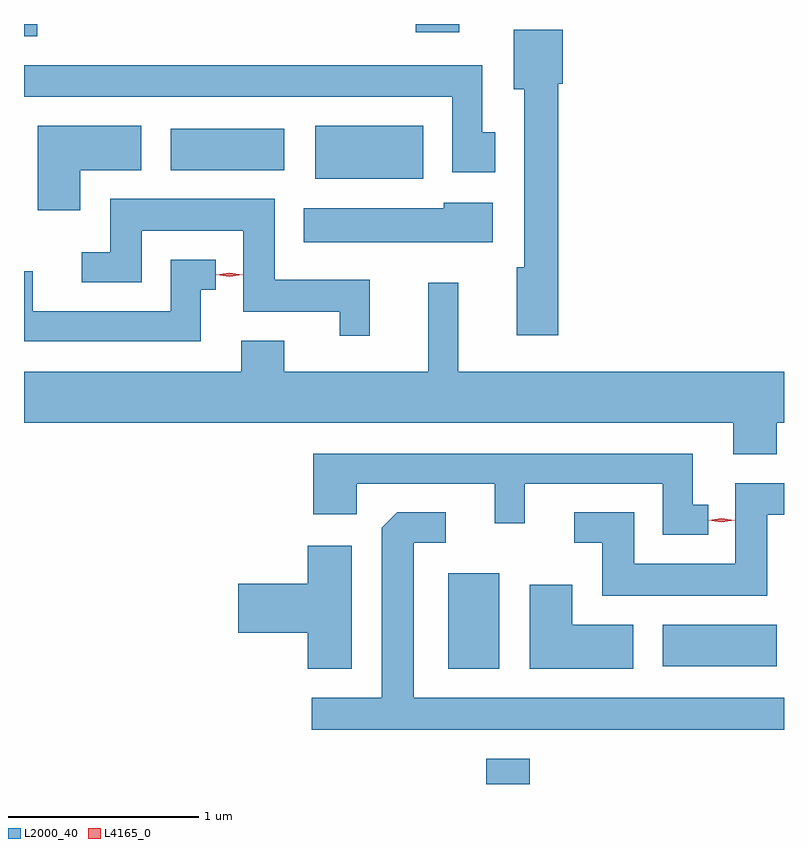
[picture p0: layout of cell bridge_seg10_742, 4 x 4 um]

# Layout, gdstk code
import gdstk
lib = gdstk.Library(unit=1e-6, precision=1e-09)
def R(c, l, rs):  # rectangles x0, y0, x1, y1
    for r in rs: c.add(gdstk.rectangle(r[:2], r[2:], *l))
def P(c, l, *ps):  # polygons
    for p in ps: c.add(gdstk.Polygon(p, *l))
L2000_40 = (2000, 40)
L4165_0 = (4165, 0)

bridge_seg10_742 = lib.new_cell('bridge_seg10_742')
R(bridge_seg10_742, L2000_40, [(600.291,2147.535,600.519,2147.669), (600.091,2148.141,600.359,2148.644), (601.221,2148.156,601.819,2148.374), (599.391,2150.721,599.959,2150.999), (598.631,2150.766,599.229,2150.984), (597.858,2151.471,597.929,2151.535), (599.921,2151.491,600.149,2151.535)])
P(bridge_seg10_742, L2000_40, [(600.669,2151.221),(600.694,2151.221),(600.694,2151.504),(600.436,2151.504),(600.436,2151.191),(600.491,2151.191),(600.491,2150.254),(600.451,2150.254),(600.451,2149.896),(600.669,2149.896)],
  [(600.339,2150.964),(600.269,2150.964),(600.269,2151.319),(597.858,2151.319),(597.858,2151.151),(600.111,2151.151),(600.111,2150.756),(600.339,2150.756)],
  [(598.154,2150.766),(598.474,2150.766),(598.474,2150.999),(597.931,2150.999),(597.931,2150.556),(598.154,2150.556)],
  [(599.679,2150.189),(599.179,2150.189),(599.179,2150.614),(598.311,2150.614),(598.311,2150.334),(598.163,2150.334),(598.163,2150.176),(598.479,2150.176),(598.479,2150.446),(599.011,2150.446),(599.011,2150.021),(599.521,2150.021),(599.521,2149.893),(599.679,2149.893)],
  [(600.324,2150.594),(600.066,2150.594),(600.066,2150.564),(599.331,2150.564),(599.331,2150.386),(600.324,2150.386)],
  [(598.789,2150.136),(598.868,2150.136),(598.868,2150.294),(598.631,2150.294),(598.631,2150.024),(597.904,2150.024),(597.904,2150.233),(597.858,2150.233),(597.858,2149.866),(598.789,2149.866)],
  [(601.819,2149.436),(601.858,2149.436),(601.858,2149.704),(600.144,2149.704),(600.144,2150.173),(599.986,2150.173),(599.986,2149.704),(599.229,2149.704),(599.229,2149.869),(599.001,2149.869),(599.001,2149.704),(597.858,2149.704),(597.858,2149.436),(601.591,2149.436),(601.591,2149.271),(601.819,2149.271)],
  [(601.458,2149.004),(601.379,2149.004),(601.379,2149.274),(599.381,2149.274),(599.381,2148.956),(599.609,2148.956),(599.609,2149.116),(600.336,2149.116),(600.336,2148.908),(600.494,2148.908),(600.494,2149.116),(601.221,2149.116),(601.221,2148.846),(601.458,2148.846)],
  [(601.769,2148.951),(601.858,2148.951),(601.858,2149.119),(601.601,2149.119),(601.601,2148.694),(601.069,2148.694),(601.069,2148.964),(600.753,2148.964),(600.753,2148.806),(600.901,2148.806),(600.901,2148.526),(601.769,2148.526)],
  [(601.858,2147.989),(599.909,2147.989),(599.909,2148.806),(600.078,2148.806),(600.078,2148.964),(599.822,2148.964),(599.741,2148.884),(599.741,2147.989),(599.373,2147.989),(599.373,2147.821),(601.858,2147.821)],
  [(599.584,2148.789),(599.351,2148.789),(599.351,2148.589),(598.986,2148.589),(598.986,2148.331),(599.351,2148.331),(599.351,2148.141),(599.584,2148.141)],
  [(601.064,2148.374),(600.744,2148.374),(600.744,2148.584),(600.521,2148.584),(600.521,2148.141),(601.064,2148.141)])
P(bridge_seg10_742, L4165_0, [(601.528,2148.913),(601.459,2148.923),(601.459,2148.923),(601.459,2148.924),(601.528,2148.933),(601.598,2148.923),(601.598,2148.923),(601.598,2148.922)],
  [(598.938,2150.205),(598.869,2150.214),(598.869,2150.215),(598.869,2150.216),(598.938,2150.225),(599.008,2150.216),(599.008,2150.216),(599.008,2150.215)])

lib.write_gds('bridge_seg10_742.gds')
